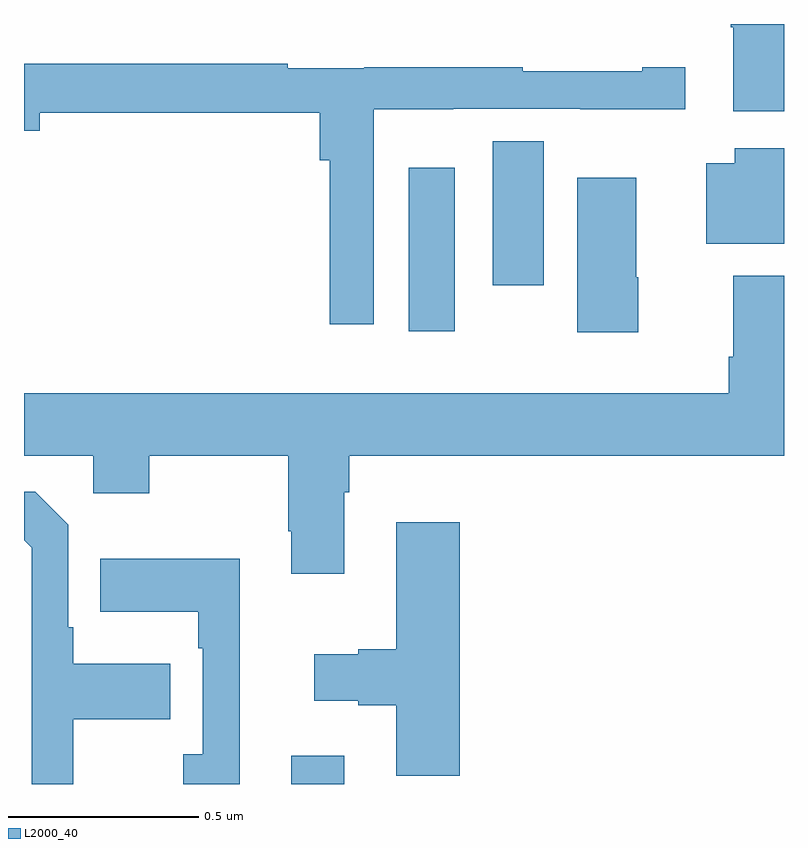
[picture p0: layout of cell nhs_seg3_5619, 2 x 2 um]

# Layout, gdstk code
import gdstk
lib = gdstk.Library(unit=1e-6, precision=1e-09)
def R(c, l, rs):  # rectangles x0, y0, x1, y1
    for r in rs: c.add(gdstk.rectangle(r[:2], r[2:], *l))
def P(c, l, *ps):  # polygons
    for p in ps: c.add(gdstk.Polygon(p, *l))
L2000_40 = (2000, 40)

nhs_seg3_5619 = lib.new_cell('nhs_seg3_5619')
R(nhs_seg3_5619, L2000_40, [(181.703,685.4,181.843,685.474), (182.012,686.592,182.134,687.022), (182.234,686.712,182.368,687.092)])
P(nhs_seg3_5619, L2000_40, [(183,687.4),(182.86,687.4),(182.86,687.392),(182.867,687.392),(182.867,687.171),(183,687.171)],
  [(181.92,687.176),(182.13,687.176),(182.13,687.177),(182.464,687.177),(182.464,687.176),(182.74,687.176),(182.74,687.286),(182.627,687.286),(182.627,687.276),(182.312,687.276),(182.312,687.286),(181.896,687.286),(181.896,687.284),(181.694,687.284),(181.694,687.295),(181,687.295),(181,687.119),(181.042,687.119),(181.042,687.166),(181.778,687.166),(181.778,687.041),(181.804,687.041),(181.804,686.61),(181.92,686.61)],
  [(183,687.073),(182.87,687.073),(182.87,687.034),(182.795,687.034),(182.795,686.822),(183,686.822)],
  [(182.617,686.733),(182.611,686.733),(182.611,686.995),(182.456,686.995),(182.456,686.589),(182.617,686.589)],
  [(181.843,686.168),(181.856,686.168),(181.856,686.264),(183,686.264),(183,686.737),(182.867,686.737),(182.867,686.524),(182.855,686.524),(182.855,686.428),(181,686.428),(181,686.264),(181.182,686.264),(181.182,686.165),(181.329,686.165),(181.329,686.264),(181.696,686.264),(181.696,686.065),(181.703,686.065),(181.703,685.953),(181.843,685.953)],
  [(181.129,685.57),(181.385,685.57),(181.385,685.717),(181.129,685.717),(181.129,685.813),(181.116,685.813),(181.116,686.082),(181.029,686.169),(181,686.169),(181,686.042),(181.02,686.022),(181.02,685.4),(181.129,685.4)],
  [(182.147,686.089),(181.979,686.089),(181.979,685.754),(181.88,685.754),(181.88,685.741),(181.764,685.741),(181.764,685.619),(181.88,685.619),(181.88,685.607),(181.979,685.607),(181.979,685.422),(182.147,685.422)],
  [(181.568,685.993),(181.201,685.993),(181.201,685.853),(181.458,685.853),(181.458,685.757),(181.47,685.757),(181.47,685.478),(181.419,685.478),(181.419,685.4),(181.568,685.4)])

lib.write_gds('nhs_seg3_5619.gds')
